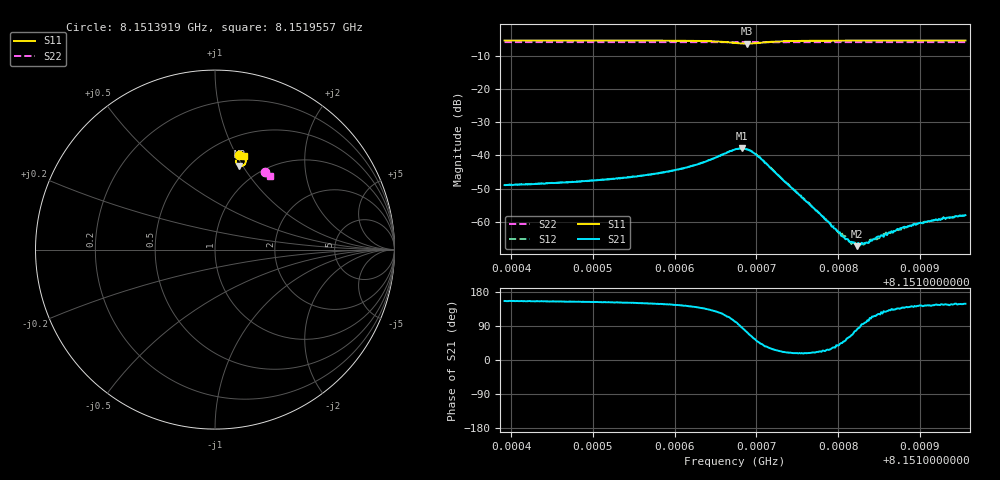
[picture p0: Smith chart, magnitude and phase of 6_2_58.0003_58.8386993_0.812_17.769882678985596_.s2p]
#  HZ  S  RI  R  50.00
! Rohde & Schwarz Vector Network Analyzer
! Rohde-Schwarz,ZNB20-2Port,1311601062101988,3.16
! Created: UTC 3/21/2024, 12:50:29 AM
! freq[Hz]  re:S11  im:S11  re:S21  im:S21  re:S12  im:S12  re:S22  im:S22
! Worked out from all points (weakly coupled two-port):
!   401 points, 8.1513919 GHz to 8.1519557 GHz, reference 50 ohm
!   highest |S21| = -37.87 dB at 8.1516823 GHz (marker M1); lowest = -67.4 dB at 8.1518232 GHz (marker M2)
!   lowest |S11| = -6.3 dB at 8.1516879 GHz (marker M3), VSWR 2.89, Z = 39.6 + j48.4 ohm
!   |S11| at or under -10 dB: nowhere
!   |S22| runs from -5.8 to -5.8 dB; largest |S21 - S12| = 0.00032
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8.15139193e9  0.1362 0.5266  -0.00325 0.00146  -0.00326 0.00154  0.2771 0.4332
8.15148636e9  0.145 0.5241  -0.00364 0.00184  -0.00367 0.00185  0.2823 0.4297
8.15153851e9  0.1509 0.5219  -0.00405 0.0022  -0.00402 0.00227  0.285 0.4279
8.15158079e9  0.1569 0.5188  -0.00454 0.00288  -0.00454 0.00295  0.2873 0.426
8.1516273e9  0.1664 0.5099  -0.00551 0.00476  -0.00548 0.00488  0.2898 0.4239
8.15167381e9  0.1623 0.4723  -0.0024 0.0121  -0.00239 0.0121  0.2915 0.4209
8.15168227e9  0.1478 0.4656  0.000964 0.0127  0.000945 0.0128  0.2912 0.4206
8.1516879e9  0.1359 0.4667  0.00337 0.0119  0.00332 0.012  0.2911 0.4207
8.15169495e9  0.1237 0.4741  0.00552 0.00988  0.00575 0.00991  0.291 0.4208
8.15170341e9  0.1171 0.4876  0.00649 0.00672  0.00676 0.0069  0.2914 0.4212
8.15176824e9  0.1383 0.5204  0.00157 0.00056  0.00161 0.000521  0.2961 0.4197
8.15180065e9  0.1455 0.5215  0.000547 0.000434  0.000532 0.00042  0.298 0.4184
8.15180629e9  0.1465 0.5214  0.000392 0.000443  0.000429 0.000429  0.2983 0.4182
8.15181334e9  0.1475 0.5214  0.000247 0.000434  0.000262 0.000443  0.2987 0.4178
8.1518232e9  0.149 0.5214  6.44e-05 0.000422  3.92e-05 0.00046  0.2992 0.4175
8.15183307e9  0.1504 0.5214  -7.18e-05 0.000462  -7.4e-05 0.000474  0.2998 0.4171
8.15184998e9  0.1528 0.5211  -0.000314 0.00051  -0.000289 0.000481  0.3006 0.4164
8.15185703e9  0.1535 0.521  -0.000386 0.000508  -0.000383 0.000504  0.3011 0.4162
8.15186267e9  0.1543 0.5209  -0.00046 0.000513  -0.000456 0.000514  0.3013 0.4158
8.15189508e9  0.1577 0.5204  -0.000697 0.00056  -0.000713 0.000586  0.3031 0.4148
8.15192609e9  0.1607 0.5199  -0.000915 0.000586  -0.000917 0.000626  0.3046 0.4134
8.15195568e9  0.1634 0.5191  -0.00107 0.000657  -0.00107 0.000661  0.3062 0.4122
